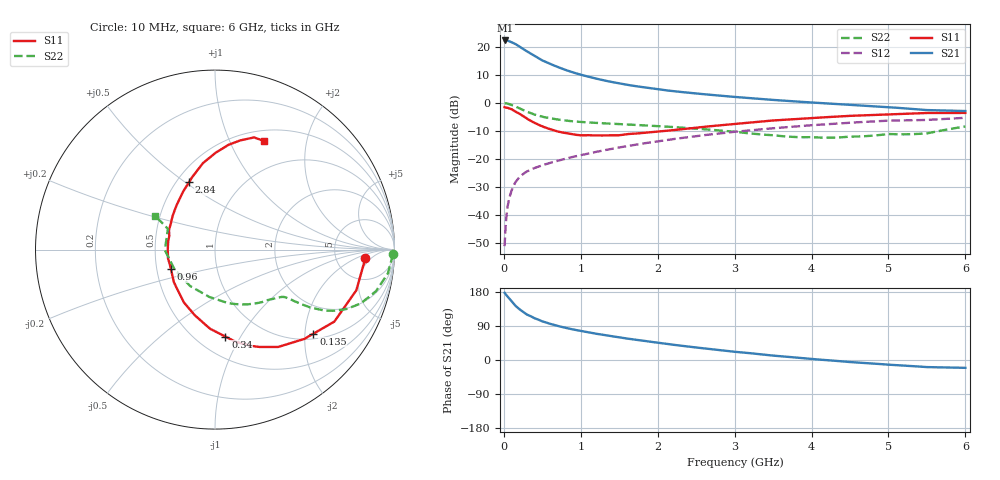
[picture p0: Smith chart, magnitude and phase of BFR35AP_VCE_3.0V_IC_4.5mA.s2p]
! Infineon Technologies  Discrete & RF Semiconductors
! BFR35AP
! VCE =  3.0 V,  IC =  4.5 mA
! Common Emitter S-Parameters:  Nov 2015
# GHz  S  MA  R  50
!  f  S11  S21  S12  S22
! GHz  MAG  ANG  MAG  ANG  MAG  ANG  MAG  ANG
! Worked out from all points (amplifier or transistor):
!   210 points, 10 MHz to 6 GHz, reference 50 ohm
!   highest |S21| = 22.3 dB at 20 MHz (marker M1)
!   |S21| within 3 dB of that: start of sweep to 248.4 MHz
!   unconditionally stable (mu >= 1): 831.1 MHz to 3.609 GHz
!   at 185 MHz: K = 0.35, MSG = 23.7 dB, |S12| = -27.0 dB
!   at 1.52 GHz: K = 1.13, MAG = 9.1 dB, |S12| = -15.8 dB
!   at 6 GHz: K = 0.97, MSG = 1.2 dB, |S12| = -5.3 dB
!   S11 on the Smith chart (normalised r, x): 10 MHz: 10, -3; 135 MHz: 1.13, -2.21; 340 MHz: 0.68, -0.86; 960 MHz: 0.59, -0.14; 2.84 GHz: 0.58, +0.52; 6 GHz: 0.63, +1.36
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0.01  0.8395 -3.3  12.95 177.4  0.0028 86.5  0.993 -1.5
0.02  0.831 -6.2  12.99 174.4  0.0053 84.8  0.9859 -3.1
0.05  0.8193 -16.1  12.94 166.9  0.0145 81.1  0.9726 -7.8
0.1  0.7765 -31.1  12.13 155.0  0.0273 74.4  0.9263 -14.5
0.135  0.7209 -40.5  11.46 146.9  0.0352 69.2  0.8836 -18.4
0.15  0.7037 -45.0  11.25 143.1  0.0386 67.6  0.8666 -20.2
0.2  0.6468 -57.0  10.21 134.4  0.0471 63.3  0.8042 -24.3
0.28  0.5487 -73.2  8.634 122.7  0.0577 58.3  0.7185 -28.3
0.34  0.4879 -83.2  7.711 116.4  0.0638 56.7  0.6672 -29.9
0.4  0.4418 -93.6  6.878 110.1  0.0693 55.5  0.6197 -31.3
0.5  0.3824 -107.2  5.727 101.9  0.0772 54.1  0.5663 -32.3
0.6  0.3422 -120.3  4.96 95.5  0.0855 54.0  0.5335 -32.9
0.8  0.2914 -142.1  3.877 84.9  0.1014 54.7  0.4858 -33.8
0.96  0.2681 -156.5  3.301 78.3  0.114 55.5  0.4625 -34.8
1.02  0.2649 -162.2  3.13 76.0  0.1188 55.5  0.4562 -35.3
1.4  0.2655 168.8  2.363 62.9  0.1513 55.5  0.4273 -39.8
2.02  0.3107 137.3  1.738 45.1  0.2088 53.0  0.3852 -50.2
2.84  0.4022 111.0  1.338 25.3  0.2897 46.0  0.3201 -70.9
3.1  0.4339 105.5  1.248 19.9  0.3151 43.0  0.2958 -79.9
4.1  0.5489 88.1  0.999 1.1  0.4089 30.9  0.2417 -130.1
5.1  0.6313 75.7  0.822 -13.5  0.4856 16.8  0.2766 175.7
6  0.6639 65.6  0.717 -20.7  0.5434 6.4  0.3814 150.6
